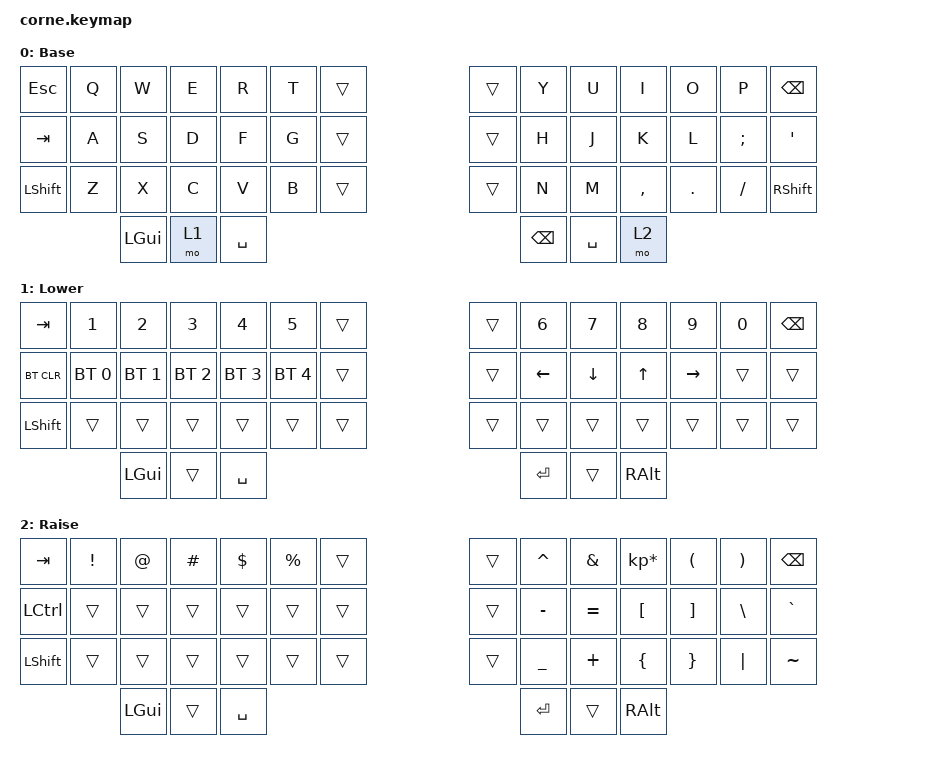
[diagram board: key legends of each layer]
/*
 * Copyright (c) 2020 The ZMK Contributors
 *
 * SPDX-License-Identifier: MIT
 */

#include <behaviors.dtsi>
#include <dt-bindings/zmk/keys.h>
#include <dt-bindings/zmk/bt.h>

/* 
KEYMAP EXPLANATION:
Each "layer" is a complete set of key bindings. You can switch between layers using layer keys.

Available key bindings include:
- &kp KEY_NAME - regular key press
- &mo N - momentary layer switch (hold the key)
- &tog N - toggle layer (press to switch, press again to switch back)
- &trans - transparent (pass through to layer below)
- &bt BT_CLR - clear all Bluetooth bonds
- &bt BT_SEL N - select Bluetooth device N

For your aux column, use &trans if you want keys to pass through to the next layer,
or assign specific functions as needed.
*/

/ {
        keymap {
                compatible = "zmk,keymap";

                default_layer {
// ╔════════════════════════════════════════════════╦════════════════════════════════════════════════╗
// ║ ESC  │  Q   │  W   │  E   │  R   │  T   │      ║      │  Y   │  U   │  I   │  O   │  P   │BKSP ║
// ╠════════════════════════════════════════════════╬════════════════════════════════════════════════╣
// ║ TAB  │  A   │  S   │  D   │  F   │  G   │ AUX  ║ AUX  │  H   │  J   │  K   │  L   │  ;   │  '  ║
// ╠════════════════════════════════════════════════╬════════════════════════════════════════════════╣
// ║SHFT  │  Z   │  X   │  C   │  V   │  B   │ AUX  ║ AUX  │  N   │  M   │  ,   │  .   │  /   │SHFT ║
// ╠══════════════════════════╦════════════════════╬═══════════════════╦══════════════════════════════╣
// ║                          ║ GUI  │ LWR  │ SPC  ║ BKSP │ SPACE│ RSE  ║                            ║
// ╚══════════════════════════╩════════════════════╩═══════════════════╩══════════════════════════════╝

                        display-name = "Base";
                        bindings = <
   &kp ESC   &kp Q &kp W &kp E &kp R &kp T &trans                          &trans &kp Y &kp U  &kp I     &kp O   &kp P    &kp BSPC
   &kp TAB   &kp A &kp S &kp D &kp F &kp G &trans                          &trans &kp H &kp J  &kp K     &kp L   &kp SEMI &kp SQT
   &kp LSHFT &kp Z &kp X &kp C &kp V &kp B &trans                          &trans &kp N &kp M  &kp COMMA &kp DOT &kp FSLH &kp RSHIFT
                   &kp LGUI &mo 1 &kp SPACE                                &kp BSPC &kp SPACE &mo 2
                        >;
                };
                lower_layer {
// ╔════════════════════════════════════════════════╦════════════════════════════════════════════════╗
// ║ TAB  │  1   │  2   │  3   │  4   │  5   │      ║      │  6   │  7   │  8   │  9   │  0   │BKSP ║
// ╠════════════════════════════════════════════════╬════════════════════════════════════════════════╣
// ║BTCLR │ BT1  │ BT2  │ BT3  │ BT4  │ BT5  │      ║      │ LFT  │ DWN  │  UP  │ RGT  │      │      ║
// ╠════════════════════════════════════════════════╬════════════════════════════════════════════════╣
// ║SHFT  │      │      │      │      │      │      ║      │      │      │      │      │      │      ║
// ╠══════════════════════════╦════════════════════╬═══════════════════╦══════════════════════════════╣
// ║                          ║ GUI  │     │ SPC  ║ ENT  │      │ ALT  ║                            ║
// ╚══════════════════════════╩════════════════════╩═══════════════════╩══════════════════════════════╝

                        display-name = "Lower";
                        bindings = <
   &kp TAB    &kp N1       &kp N2       &kp N3       &kp N4       &kp N5       &trans         &trans   &kp N6   &kp N7   &kp N8 &kp N9    &kp N0 &kp BSPC
   &bt BT_CLR &bt BT_SEL 0 &bt BT_SEL 1 &bt BT_SEL 2 &bt BT_SEL 3 &bt BT_SEL 4 &trans         &trans   &kp LEFT &kp DOWN &kp UP &kp RIGHT &trans &trans
   &kp LSHFT  &trans       &trans       &trans       &trans       &trans       &trans         &trans   &trans   &trans   &trans &trans    &trans &trans
                          	        &kp LGUI     &trans       &kp SPACE      &kp RET  &trans   &kp RALT
                        >;
                };

                raise_layer {
// ╔════════════════════════════════════════════════╦════════════════════════════════════════════════╗
// ║ TAB  │  !   │  @   │  #   │  $   │  %   │      ║      │  ^   │  &   │  *   │  (   │  )   │BKSP ║
// ╠════════════════════════════════════════════════╬════════════════════════════════════════════════╣
// ║CTRL  │      │      │      │      │      │      ║      │  -   │  =   │  [   │  ]   │  \   │  `  ║
// ╠════════════════════════════════════════════════╬════════════════════════════════════════════════╣
// ║SHFT  │      │      │      │      │      │      ║      │  _   │  +   │  {   │  }   │  |   │  ~  ║
// ╠══════════════════════════╦════════════════════╬═══════════════════╦══════════════════════════════╣
// ║                          ║ GUI  │     │ SPC  ║ ENT  │      │ ALT  ║                            ║
// ╚══════════════════════════╩════════════════════╩═══════════════════╩══════════════════════════════╝

                        display-name = "Raise";
                        bindings = <
   &kp  TAB  &kp EXCL &kp AT &kp HASH &kp DLLR &kp PRCNT &trans      &trans   &kp CARET &kp AMPS  &kp KP_MULTIPLY &kp LPAR &kp RPAR &kp BSPC
   &kp LCTRL &trans   &trans &trans   &trans   &trans    &trans      &trans   &kp MINUS &kp EQUAL &kp LBKT        &kp RBKT &kp BSLH &kp GRAVE
   &kp LSHFT &trans   &trans &trans   &trans   &trans    &trans      &trans   &kp UNDER &kp PLUS  &kp LBRC        &kp RBRC &kp PIPE &kp TILDE
                    	     &kp LGUI &trans   &kp SPACE &kp RET   &trans    &kp RALT
                        >;
                };

                extra_1 {
                        status = "reserved";
                };

                extra_2 {
                        status = "reserved";
                };

                extra_3 {
                        status = "reserved";
                };
        };
};
